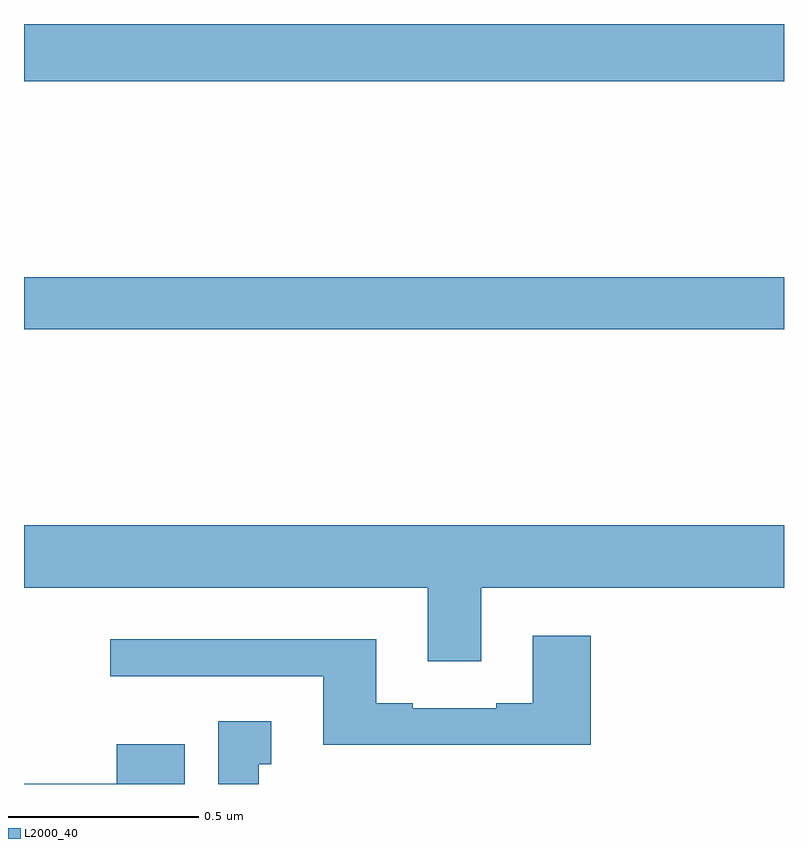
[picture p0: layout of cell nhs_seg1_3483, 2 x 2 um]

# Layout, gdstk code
import gdstk
lib = gdstk.Library(unit=1e-6, precision=1e-09)
def R(c, l, rs):  # rectangles x0, y0, x1, y1
    for r in rs: c.add(gdstk.rectangle(r[:2], r[2:], *l))
def P(c, l, *ps):  # polygons
    for p in ps: c.add(gdstk.Polygon(p, *l))
L2000_40 = (2000, 40)

nhs_seg1_3483 = lib.new_cell('nhs_seg1_3483')
R(nhs_seg1_3483, L2000_40, [(154,568.396,156,568.532), (154,569.048,156,569.199)])
P(nhs_seg1_3483, L2000_40, [(155.203,567.716),(156,567.716),(156,567.88),(154,567.88),(154,567.716),(155.063,567.716),(155.063,567.522),(155.203,567.522)],
  [(155.492,567.589),(155.339,567.589),(155.339,567.412),(155.243,567.412),(155.243,567.399),(155.023,567.399),(155.023,567.412),(154.927,567.412),(154.927,567.58),(154.227,567.58),(154.227,567.483),(154.787,567.483),(154.787,567.302),(155.492,567.302)],
  [(154.618,567.251),(154.651,567.251),(154.651,567.364),(154.511,567.364),(154.511,567.199),(154.618,567.199)],
  [(154.423,567.304),(154.244,567.304),(154.244,567.2),(154,567.2),(154,567.199),(154.423,567.199)])

lib.write_gds('nhs_seg1_3483.gds')
